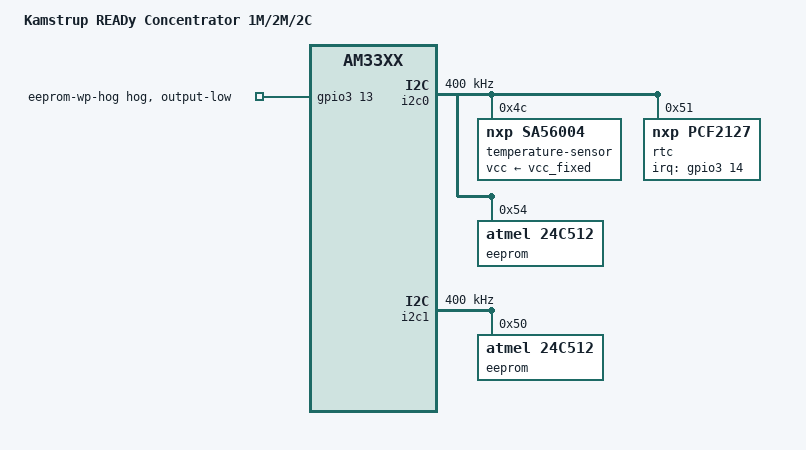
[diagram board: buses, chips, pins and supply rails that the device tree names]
// SPDX-License-Identifier: GPL-2.0-only
/*
 * Device Tree Source for Kamstrup READy Concentrator 1M/2M/2C.
 *
 * Copyright (C) 2025 Kamstrup A/S
 * Author: Bruno Thomsen <bruno.thomsen@gmail.com>
 *         Lars Alex Pedersen <lapeddk@gmail.com>
 */
/dts-v1/;

#include "am335x-emperor-common.dtsi"
#include <dt-bindings/interrupt-controller/irq.h>

/ {
	model = "Kamstrup READy Concentrator 1M/2M/2C";
	compatible = "kam,am335x-emperor", "ti,am33xx";
};

&gpio0 {
	gpio-line-names =
		"MDIO_DATA",
		"MDIO_CLK",
		"SPI0_CLK",
		"SPI0_MOSI",
		"SPI0_MISO",
		"SPI0_CS0",
		"POWER_FAILURE",
		"SPI1_CLK",
		"SYS_BOOT12",
		"SYS_BOOT13",
		"SYS_BOOT14",
		"SYS_BOOT15",
		"RADIO_TEMP_CRIT",
		"RADIO_TEMP_ALERT",
		"I2C1_SDA",
		"I2C1_SCL",
		"MII1_TXD3",
		"MII1_TXD2",
		"USB0_DRVVBUS",
		"RADIO_GPIO4",
		"RADIO_IRQ",
		"MII1_TXD1",
		"NC",
		"NC",
		"NC",
		"NC",
		"NC",
		"NC",
		"MII1_TXD0",
		"PHY_IRQ",
		"NC",
		"NC";
};

&gpio1 {
	gpio-line-names =
		"MMC1_DAT0",
		"MMC1_DAT1",
		"MMC1_DAT2",
		"MMC1_DAT3",
		"MMC1_DAT4",
		"MMC1_DAT5",
		"MMC1_DAT6",
		"MMC1_DAT7",
		"UART4_RX",
		"UART4_TX",
		"UART0_RX",
		"UART0_TX",
		"NC",
		"NC",
		"NC",
		"NC",
		"NC",
		"NC",
		"NC",
		"NC",
		"NC",
		"NC",
		"NC",
		"NC",
		"NC",
		"NC",
		"NC",
		"NC",
		"TEST_MODE",
		"NC",
		"RADIO_GPIO5",
		"MMC1_CMD";
};

&gpio3 {
	gpio-line-names =
		"MII1_COL",
		"MII1_CRS_DV",
		"MII1_RXERR",
		"MII1_TXEN",
		"MII1_RXDV",
		"I2C0_SDA",
		"I2C0_SCL",
		"NC",
		"NC",
		"MII1_TXCLK",
		"MII1_RXCLK",
		"NC",
		"NC",
		"NC",
		"RTC_IRQ",
		"RTC_TAMPER",
		"RADIO_INIT_B",
		"RADIO_PRG_DONE",
		"RADIO_POWER",
		"RADIO_FLASH_MUX",
		"RADIO_RESET",
		"RADIO_FLASH_RESET",
		"NC",
		"NC",
		"NC",
		"NC",
		"NC",
		"NC",
		"NC",
		"NC",
		"NC",
		"NC";

	eeprom-wp-hog {
		gpio-hog;
		gpios = <13 GPIO_ACTIVE_HIGH>;
		output-low;
	};
};

&am33xx_pinmux {
	pinctrl-names = "default";
	pinctrl-0 = <
		&pinctrl_board_pins_default
		&sdr_radio_pins_default>;

	pinctrl_board_pins_default: board-default-pins {
		pinctrl-single,pins = <
			/* PHY irq */
			AM33XX_PADCONF(AM335X_PIN_RMII1_REF_CLK, PIN_INPUT_PULLUP, MUX_MODE7) /* (H18) rmii1_refclk.gpio0[29] */
			/* Production test */
			AM33XX_PADCONF(AM335X_PIN_GPMC_BEN1, PIN_INPUT_PULLUP, MUX_MODE7) /* (U18) gpmc_be1n.gpio1[28] */
			/* Temperature sensor: critical (T_CRIT) */
			AM33XX_PADCONF(AM335X_PIN_UART1_CTSN, PIN_INPUT_PULLUP, MUX_MODE7) /* (D18) uart1_ctsn.gpio0[12] */
			/* Temperature sensor: alert (ALERT) */
			AM33XX_PADCONF(AM335X_PIN_UART1_RTSN, PIN_INPUT_PULLUP, MUX_MODE7) /* (D17) uart1_rtsn.gpio0[13] */
			/* SYS_BOOT0 to SYS_BOOT15 */
			AM33XX_PADCONF(AM335X_PIN_LCD_DATA0, PIN_INPUT, MUX_MODE7) /* (R1) lcd_data0.gpio2[6] */
			AM33XX_PADCONF(AM335X_PIN_LCD_DATA1, PIN_INPUT, MUX_MODE7) /* (R2) lcd_data1.gpio2[7] */
			AM33XX_PADCONF(AM335X_PIN_LCD_DATA2, PIN_INPUT, MUX_MODE7) /* (R3) lcd_data2.gpio2[8] */
			AM33XX_PADCONF(AM335X_PIN_LCD_DATA3, PIN_INPUT, MUX_MODE7) /* (R4) lcd_data3.gpio2[9] */
			AM33XX_PADCONF(AM335X_PIN_LCD_DATA4, PIN_INPUT, MUX_MODE7) /* (T1) lcd_data4.gpio2[10] */
			AM33XX_PADCONF(AM335X_PIN_LCD_DATA5, PIN_INPUT, MUX_MODE7) /* (T2) lcd_data5.gpio2[11] */
			AM33XX_PADCONF(AM335X_PIN_LCD_DATA6, PIN_INPUT, MUX_MODE7) /* (T3) lcd_data6.gpio2[12] */
			AM33XX_PADCONF(AM335X_PIN_LCD_DATA7, PIN_INPUT, MUX_MODE7) /* (T4) lcd_data7.gpio2[13] */
			AM33XX_PADCONF(AM335X_PIN_LCD_DATA8, PIN_INPUT, MUX_MODE7) /* (U1) lcd_data8.gpio2[14] */
			AM33XX_PADCONF(AM335X_PIN_LCD_DATA9, PIN_INPUT, MUX_MODE7) /* (U2) lcd_data9.gpio2[15] */
			AM33XX_PADCONF(AM335X_PIN_LCD_DATA10, PIN_INPUT, MUX_MODE7) /* (U3) lcd_data10.gpio2[16] */
			AM33XX_PADCONF(AM335X_PIN_LCD_DATA11, PIN_INPUT, MUX_MODE7) /* (U4) lcd_data11.gpio2[17] */
			AM33XX_PADCONF(AM335X_PIN_LCD_DATA12, PIN_INPUT, MUX_MODE7) /* (V2) lcd_data12.gpio0[8] */
			AM33XX_PADCONF(AM335X_PIN_LCD_DATA13, PIN_INPUT, MUX_MODE7) /* (V3) lcd_data13.gpio0[9] */
			AM33XX_PADCONF(AM335X_PIN_LCD_DATA14, PIN_INPUT, MUX_MODE7) /* (V4) lcd_data14.gpio0[10] */
			AM33XX_PADCONF(AM335X_PIN_LCD_DATA15, PIN_INPUT, MUX_MODE7) /* (T5) lcd_data15.gpio0[11] */
			/* Unused GPIO pins */
			AM33XX_PADCONF(AM335X_PIN_GPMC_AD8, PIN_INPUT_PULLDOWN, MUX_MODE7) /* (U10) gpmc_ad8.gpio0[22] */
			AM33XX_PADCONF(AM335X_PIN_GPMC_AD9, PIN_INPUT_PULLDOWN, MUX_MODE7) /* (T10) gpmc_ad9.gpio0[23] */
			AM33XX_PADCONF(AM335X_PIN_GPMC_AD10, PIN_INPUT_PULLDOWN, MUX_MODE7) /* (T11) gpmc_ad10.gpio0[26] */
			AM33XX_PADCONF(AM335X_PIN_GPMC_AD11, PIN_INPUT_PULLDOWN, MUX_MODE7) /* (U12) gpmc_ad11.gpio0[27] */
			AM33XX_PADCONF(AM335X_PIN_GPMC_WAIT0, PIN_INPUT_PULLDOWN, MUX_MODE7) /* (T17) gpmc_wait0.gpio0[30] */
			AM33XX_PADCONF(AM335X_PIN_GPMC_WPN, PIN_INPUT_PULLDOWN, MUX_MODE7) /* (U17) gpmc_wpn.gpio0[31] */
			AM33XX_PADCONF(AM335X_PIN_GPMC_AD13, PIN_INPUT_PULLDOWN, MUX_MODE7) /* (R12) gpmc_ad13.gpio1[13] */
			AM33XX_PADCONF(AM335X_PIN_GPMC_AD14, PIN_INPUT_PULLDOWN, MUX_MODE7) /* (V13) gpmc_ad14.gpio1[14] */
			AM33XX_PADCONF(AM335X_PIN_GPMC_AD15, PIN_INPUT_PULLDOWN, MUX_MODE7) /* (U13) gpmc_ad15.gpio1[15] */
			AM33XX_PADCONF(AM335X_PIN_GPMC_A0, PIN_INPUT_PULLDOWN, MUX_MODE7) /* (R13) gpmc_a0.gpio1[16] */
			AM33XX_PADCONF(AM335X_PIN_GPMC_A1, PIN_INPUT_PULLDOWN, MUX_MODE7) /* (V14) gpmc_a1.gpio1[17] */
			AM33XX_PADCONF(AM335X_PIN_GPMC_A2, PIN_INPUT_PULLDOWN, MUX_MODE7) /* (U14) gpmc_a2.gpio1[18] */
			AM33XX_PADCONF(AM335X_PIN_GPMC_A3, PIN_INPUT_PULLDOWN, MUX_MODE7) /* (T14) gpmc_a3.gpio1[19] */
			AM33XX_PADCONF(AM335X_PIN_GPMC_A4, PIN_INPUT_PULLDOWN, MUX_MODE7) /* (R14) gpmc_a4.gpio1[20] */
			AM33XX_PADCONF(AM335X_PIN_GPMC_A5, PIN_INPUT_PULLDOWN, MUX_MODE7) /* (V15) gpmc_a5.gpio1[21] */
			AM33XX_PADCONF(AM335X_PIN_GPMC_A6, PIN_INPUT_PULLDOWN, MUX_MODE7) /* (U15) gpmc_a6.gpio1[22] */
			AM33XX_PADCONF(AM335X_PIN_GPMC_A7, PIN_INPUT_PULLDOWN, MUX_MODE7) /* (T15) gpmc_a7.gpio1[23] */
			AM33XX_PADCONF(AM335X_PIN_GPMC_A8, PIN_INPUT_PULLDOWN, MUX_MODE7) /* (V16) gpmc_a8.gpio1[24] */
			AM33XX_PADCONF(AM335X_PIN_GPMC_A9, PIN_INPUT_PULLDOWN, MUX_MODE7) /* (U16) gpmc_a9.gpio1[25] */
			AM33XX_PADCONF(AM335X_PIN_GPMC_A10, PIN_INPUT_PULLDOWN, MUX_MODE7) /* (T16) gpmc_a10.gpio1[26] */
			AM33XX_PADCONF(AM335X_PIN_GPMC_A11, PIN_INPUT_PULLDOWN, MUX_MODE7) /* (V17) gpmc_a11.gpio1[27] */
			AM33XX_PADCONF(AM335X_PIN_GPMC_CSN0, PIN_INPUT_PULLDOWN, MUX_MODE7) /* (V6) gpmc_csn0.gpio1[29] */
			AM33XX_PADCONF(AM335X_PIN_GPMC_CSN3, PIN_INPUT_PULLDOWN, MUX_MODE7) /* (T13) gpmc_csn3.gpio2[0] */
			AM33XX_PADCONF(AM335X_PIN_GPMC_CLK, PIN_INPUT_PULLDOWN, MUX_MODE7) /* (V12) gpmc_clk.gpio2[1] */
			AM33XX_PADCONF(AM335X_PIN_USB1_DRVVBUS, PIN_INPUT_PULLDOWN, MUX_MODE7) /* (F15) USB1_DRVVBUS.gpio3[13] */
		>;
	};
};

/*
 * I2C bus on baseband board (55501738)
 */
&i2c0 {
	pinctrl-names = "default";
	pinctrl-0 = <&i2c0_pins_default>;
	status = "okay";
	clock-frequency = <400000>;

	/*
	 * Baseband board temperature sensor.
	 * Local channel measures the board, remote channel the FPGA die.
	 *
	 * Alert pins are muxed as GPIO inputs but have no kernel consumer:
	 * gpio0 pin 12: /T_CRIT
	 * gpio0 pin 13: /ALERT
	 */
	temperature-sensor@4c {
		compatible = "nxp,sa56004";
		reg = <0x4c>;
		vcc-supply = <&vcc_fixed>;
		#address-cells = <1>;
		#size-cells = <0>;

		channel@0 {
			reg = <0x0>;
			label = "baseboard";
		};

		channel@1 {
			reg = <0x1>;
			label = "fpga";
		};
	};

	rtc@51 {
		compatible = "nxp,pcf2127";
		reg = <0x51>;
		pinctrl-names = "default";
		pinctrl-0 = <&rtc_pins_default>;
		interrupt-parent = <&gpio3>;
		interrupts = <14 IRQ_TYPE_LEVEL_LOW>;
		reset-source;
	};

	eeprom@54 {
		compatible = "atmel,24c512";
		reg = <0x54>;
		pagesize = <128>;
	};
};

/*
 * I2C bus on radio frontend board (55501946)
 */
&i2c1 {
	pinctrl-names = "default";
	pinctrl-0 = <&i2c1_pins_default>;
	status = "okay";
	clock-frequency = <400000>;

	eeprom@50 {
		reg = <0x50>;
		compatible = "atmel,24c512";
		pagesize = <128>;
	};
};
